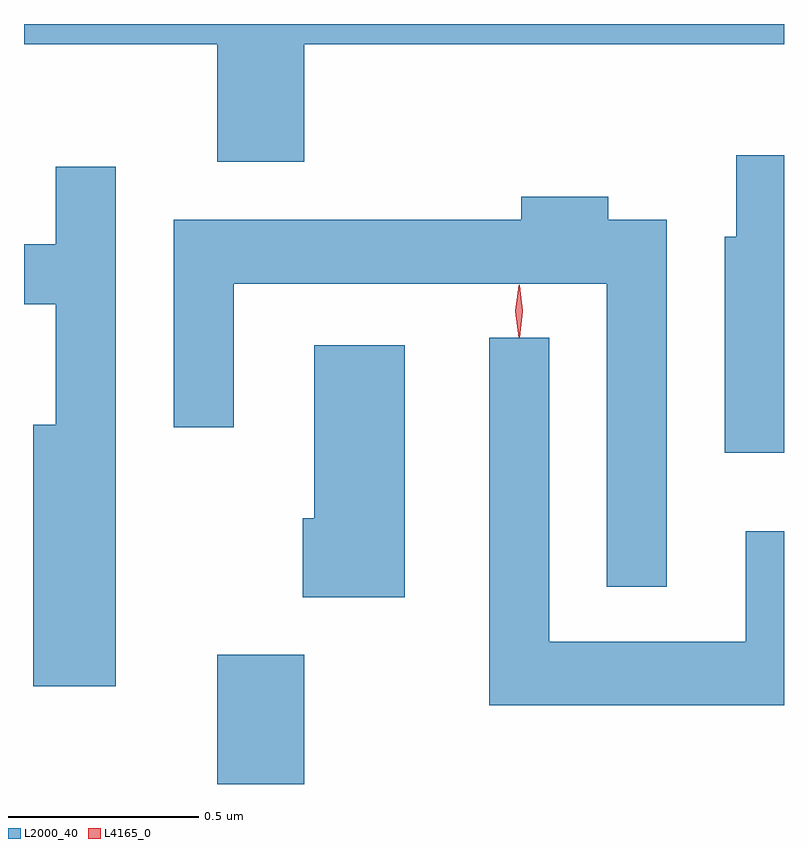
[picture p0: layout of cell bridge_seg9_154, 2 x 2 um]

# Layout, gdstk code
import gdstk
lib = gdstk.Library(unit=1e-6, precision=1e-09)
def R(c, l, rs):  # rectangles x0, y0, x1, y1
    for r in rs: c.add(gdstk.rectangle(r[:2], r[2:], *l))
def P(c, l, *ps):  # polygons
    for p in ps: c.add(gdstk.Polygon(p, *l))
L2000_40 = (2000, 40)
L4165_0 = (4165, 0)

bridge_seg9_154 = lib.new_cell('bridge_seg9_154')
R(bridge_seg9_154, L2000_40, [(1399.041,2069.789,1399.269,2070.129)])
P(bridge_seg9_154, L2000_40, [(1399.269,2071.736),(1400.532,2071.736),(1400.532,2071.789),(1398.532,2071.789),(1398.532,2071.736),(1399.041,2071.736),(1399.041,2071.426),(1399.269,2071.426)],
  [(1400.532,2071.444),(1400.406,2071.444),(1400.406,2071.229),(1400.376,2071.229),(1400.376,2070.661),(1400.532,2070.661)],
  [(1398.774,2071.413),(1398.616,2071.413),(1398.616,2071.209),(1398.532,2071.209),(1398.532,2071.051),(1398.616,2071.051),(1398.616,2070.734),(1398.556,2070.734),(1398.556,2070.046),(1398.774,2070.046)],
  [(1400.224,2071.274),(1400.069,2071.274),(1400.069,2071.334),(1399.841,2071.334),(1399.841,2071.274),(1398.926,2071.274),(1398.926,2070.728),(1399.084,2070.728),(1399.084,2071.106),(1400.066,2071.106),(1400.066,2070.308),(1400.224,2070.308)],
  [(1400.532,2070.454),(1400.431,2070.454),(1400.431,2070.164),(1399.914,2070.164),(1399.914,2070.963),(1399.756,2070.963),(1399.756,2069.996),(1400.532,2069.996)],
  [(1399.534,2070.944),(1399.296,2070.944),(1399.296,2070.489),(1399.266,2070.489),(1399.266,2070.281),(1399.534,2070.281)])
P(bridge_seg9_154, L4165_0, [(1399.835,2070.963),(1399.834,2070.964),(1399.825,2071.033),(1399.834,2071.102),(1399.835,2071.103),(1399.836,2071.102),(1399.845,2071.033),(1399.836,2070.964)],
  [(1399.835,2070.967),(1399.834,2070.968),(1399.825,2071.034),(1399.834,2071.1),(1399.835,2071.101),(1399.836,2071.1),(1399.845,2071.034),(1399.836,2070.968)])

lib.write_gds('bridge_seg9_154.gds')
